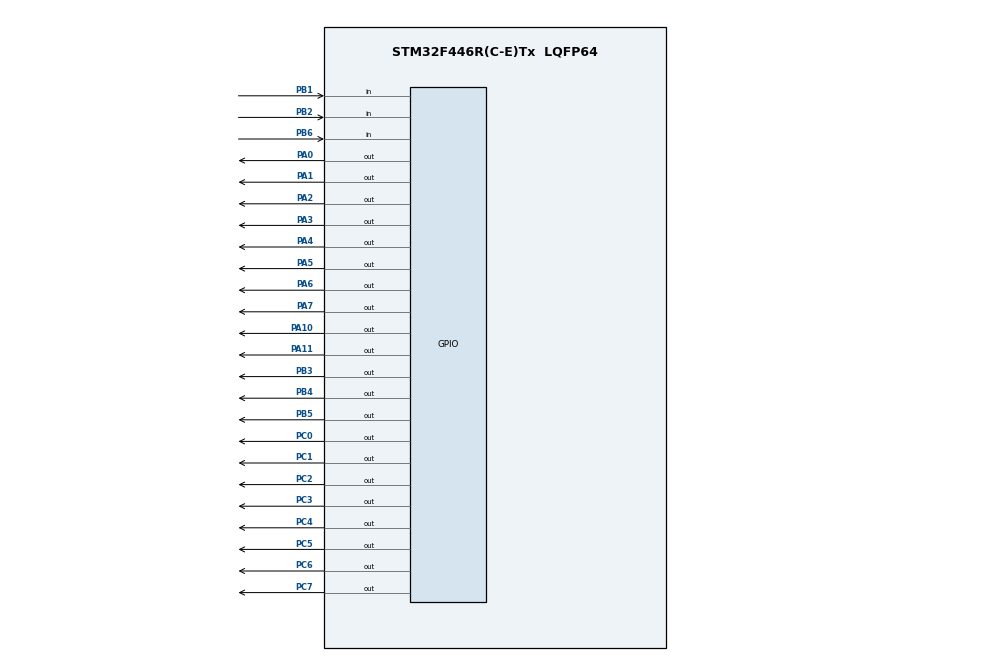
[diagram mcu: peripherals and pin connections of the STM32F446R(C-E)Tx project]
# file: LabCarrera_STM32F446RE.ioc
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Mcu.Family=STM32F4
Mcu.Name=STM32F446R(C-E)Tx
Mcu.Package=LQFP64
NVIC.PriorityGroup=NVIC_PRIORITYGROUP_4
PA0-WKUP.Signal=GPIO_Output
PA1.Signal=GPIO_Output
PA10.Signal=GPIO_Output
PA11.Signal=GPIO_Output
PA13.Mode=Serial_Wire
PA13.Signal=SYS_JTMS-SWDIO
PA14.Mode=Serial_Wire
PA14.Signal=SYS_JTCK-SWCLK
PA2.Signal=GPIO_Output
PA3.Signal=GPIO_Output
PA4.Signal=GPIO_Output
PA5.Signal=GPIO_Output
PA6.Signal=GPIO_Output
PA7.Signal=GPIO_Output
PB1.GPIO_PuPd=GPIO_PULLUP
PB1.Signal=GPIO_Input
PB2.GPIO_PuPd=GPIO_PULLUP
PB2.Signal=GPIO_Input
PB3.Signal=GPIO_Output
PB4.Signal=GPIO_Output
PB5.Signal=GPIO_Output
PB6.GPIO_PuPd=GPIO_PULLUP
PB6.Signal=GPIO_Input
PC0.Signal=GPIO_Output
PC1.Signal=GPIO_Output
PC2.Signal=GPIO_Output
PC3.Signal=GPIO_Output
PC4.Signal=GPIO_Output
PC5.Signal=GPIO_Output
PC6.Signal=GPIO_Output
PC7.Signal=GPIO_Output
ProjectManager.HeapSize=0x200
ProjectManager.StackSize=0x400
ProjectManager.TargetToolchain=STM32CubeIDE
RCC.CortexFreq_Value=16000000
RCC.USBFreq_Value=96000000
RCC.VCOOutputFreq_Value=192000000
board=custom

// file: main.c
/* USER CODE BEGIN Header */
/**
  ******************************************************************************
  * @file           : main.c
  * @brief          : Main program body
  ******************************************************************************
  * @attention
  *
  * Copyright (c) 2024 STMicroelectronics.
  * All rights reserved.
  *
  * This software is licensed under terms that can be found in the LICENSE file
  * in the root directory of this software component.
  * If no LICENSE file comes with this software, it is provided AS-IS.
  *
  ******************************************************************************
  */
/* USER CODE END Header */
#include "main.h"

/* USER CODE BEGIN PV */
uint8_t contadorA = 0; // Contador1
uint8_t contadorC = 0; // Contador2
uint8_t semaphoreActive = 0; // Flag para indicar si el semáforo está activo
uint8_t buttonB6Pressed = 0; // Flag para bloquear el botón B6
volatile uint8_t game_over = 0;
volatile uint8_t START = 1;

/* USER CODE END PV */

void SystemClock_Config(void);
static void MX_GPIO_Init(void);
/* USER CODE BEGIN PFP */
void Ganador(void);
/* USER CODE END PFP */

int main(void)
{

  /* MCU Configuration--------------------------------------------------------*/

  /* Reset of all peripherals, Initializes the Flash interface and the Systick. */
  HAL_Init();

  /* Configure the system clock */
  SystemClock_Config();

  /* Initialize all configured peripherals */
  MX_GPIO_Init();

  /* Infinite loop */
  while (1)
  {

    /* USER CODE BEGIN 3 */

	  if (semaphoreActive || game_over) return; // No hacer nada si el semáforo está activo
	    if(HAL_GPIO_ReadPin(GPIOB, GPIO_PIN_1)==0)
	    {
	    	HAL_Delay(5);
	    	while (HAL_GPIO_ReadPin(GPIOB, GPIO_PIN_1)==0);
	    	HAL_Delay(5);
	      // Incremento
	      contadorA = (contadorA << 1) | 1;
	      //if(contadorA > 128) contadorA = 1; // Reiniciar si se excede 128

	      HAL_GPIO_WritePin(GPIOA, 0xFF, GPIO_PIN_RESET); // Limpiar puerto A
	      HAL_GPIO_WritePin(GPIOA, contadorA, GPIO_PIN_SET); // Actualizar puerto A

	    }
	    else if(HAL_GPIO_ReadPin(GPIOB, GPIO_PIN_2)==0)
	    {
	    	HAL_Delay(5);
	    	while (HAL_GPIO_ReadPin(GPIOB, GPIO_PIN_2)==0);
	    	HAL_Delay(5);
	      // Incremento
	      contadorC = (contadorC << 1) | 1;
	      //if(contadorC > 128) contadorC = 1; // Reiniciar

	     HAL_GPIO_WritePin(GPIOC, 0xFF, GPIO_PIN_RESET);
	     HAL_GPIO_WritePin(GPIOC, contadorC, GPIO_PIN_SET);

	    }

	  	  if(!game_over) {
	  	          Ganador();
	  	  }

	  	  if(HAL_GPIO_ReadPin(GPIOB, GPIO_PIN_6) == 0 && !buttonB6Pressed)
	  	  {
	  		  buttonB6Pressed = 1;
	  		  semaphoreActive = 1;
	  		  HAL_GPIO_WritePin(GPIOA, GPIO_PIN_10, 0);

	  	  	  HAL_GPIO_WritePin(GPIOB, GPIO_PIN_3, 0); // Rojo
	  	  	  HAL_GPIO_WritePin(GPIOB, GPIO_PIN_5, 1); // Verde
	  	  	  HAL_Delay(1000);

	  	  	  HAL_GPIO_WritePin(GPIOB, GPIO_PIN_5, 0);
	  	  	  HAL_GPIO_WritePin(GPIOB, GPIO_PIN_4, 1); // Amarillo
	  	  	  HAL_Delay(1000);

	  	  	  HAL_GPIO_WritePin(GPIOB, GPIO_PIN_4, 0);
	  	  	  HAL_Delay(10);

	  	  	  HAL_GPIO_WritePin(GPIOB, GPIO_PIN_3, 1); // Rojo
	  	  	  semaphoreActive = 0; // Fin de la rutina del semáforo
	  	  	  START = 0;
	  	  }
	  	  	  if(!semaphoreActive)
	  	  	      {

	  	  	      }
  }
  /* USER CODE END 3 */
}

void SystemClock_Config(void)
{
  RCC_OscInitTypeDef RCC_OscInitStruct = {0};
  RCC_ClkInitTypeDef RCC_ClkInitStruct = {0};

  /** Configure the main internal regulator output voltage
  */
  __HAL_RCC_PWR_CLK_ENABLE();
  __HAL_PWR_VOLTAGESCALING_CONFIG(PWR_REGULATOR_VOLTAGE_SCALE3);

  /** Initializes the RCC Oscillators according to the specified parameters
  * in the RCC_OscInitTypeDef structure.
  */
  RCC_OscInitStruct.OscillatorType = RCC_OSCILLATORTYPE_HSI;
  RCC_OscInitStruct.HSIState = RCC_HSI_ON;
  RCC_OscInitStruct.HSICalibrationValue = RCC_HSICALIBRATION_DEFAULT;
  RCC_OscInitStruct.PLL.PLLState = RCC_PLL_NONE;
  if (HAL_RCC_OscConfig(&RCC_OscInitStruct) != HAL_OK)
  {
    Error_Handler();
  }

  /** Initializes the CPU, AHB and APB buses clocks
  */
  RCC_ClkInitStruct.ClockType = RCC_CLOCKTYPE_HCLK|RCC_CLOCKTYPE_SYSCLK
                              |RCC_CLOCKTYPE_PCLK1|RCC_CLOCKTYPE_PCLK2;
  RCC_ClkInitStruct.SYSCLKSource = RCC_SYSCLKSOURCE_HSI;
  RCC_ClkInitStruct.AHBCLKDivider = RCC_SYSCLK_DIV1;
  RCC_ClkInitStruct.APB1CLKDivider = RCC_HCLK_DIV1;
  RCC_ClkInitStruct.APB2CLKDivider = RCC_HCLK_DIV1;

  if (HAL_RCC_ClockConfig(&RCC_ClkInitStruct, FLASH_LATENCY_0) != HAL_OK)
  {
    Error_Handler();
  }
}

static void MX_GPIO_Init(void)
{
  GPIO_InitTypeDef GPIO_InitStruct = {0};

  /* GPIO Ports Clock Enable */
  __HAL_RCC_GPIOC_CLK_ENABLE();
  __HAL_RCC_GPIOA_CLK_ENABLE();
  __HAL_RCC_GPIOB_CLK_ENABLE();

  /*Configure GPIO pin Output Level */
  HAL_GPIO_WritePin(GPIOC, GPIO_PIN_0|GPIO_PIN_1|GPIO_PIN_2|GPIO_PIN_3
                          |GPIO_PIN_4|GPIO_PIN_5|GPIO_PIN_6|GPIO_PIN_7, GPIO_PIN_RESET);

  /*Configure GPIO pin Output Level */
  HAL_GPIO_WritePin(GPIOA, GPIO_PIN_0|GPIO_PIN_1|GPIO_PIN_2|GPIO_PIN_3
                          |GPIO_PIN_4|GPIO_PIN_5|GPIO_PIN_6|GPIO_PIN_7
                          |GPIO_PIN_10|GPIO_PIN_11, GPIO_PIN_RESET);

  /*Configure GPIO pin Output Level */
  HAL_GPIO_WritePin(GPIOB, GPIO_PIN_3|GPIO_PIN_4|GPIO_PIN_5, GPIO_PIN_RESET);

  /*Configure GPIO pins : PC0 PC1 PC2 PC3
                           PC4 PC5 PC6 PC7 */
  GPIO_InitStruct.Pin = GPIO_PIN_0|GPIO_PIN_1|GPIO_PIN_2|GPIO_PIN_3
                          |GPIO_PIN_4|GPIO_PIN_5|GPIO_PIN_6|GPIO_PIN_7;
  GPIO_InitStruct.Mode = GPIO_MODE_OUTPUT_PP;
  GPIO_InitStruct.Pull = GPIO_NOPULL;
  GPIO_InitStruct.Speed = GPIO_SPEED_FREQ_LOW;
  HAL_GPIO_Init(GPIOC, &GPIO_InitStruct);

  /*Configure GPIO pins : PA0 PA1 PA2 PA3
                           PA4 PA5 PA6 PA7
                           PA10 PA11 */
  GPIO_InitStruct.Pin = GPIO_PIN_0|GPIO_PIN_1|GPIO_PIN_2|GPIO_PIN_3
                          |GPIO_PIN_4|GPIO_PIN_5|GPIO_PIN_6|GPIO_PIN_7
                          |GPIO_PIN_10|GPIO_PIN_11;
  GPIO_InitStruct.Mode = GPIO_MODE_OUTPUT_PP;
  GPIO_InitStruct.Pull = GPIO_NOPULL;
  GPIO_InitStruct.Speed = GPIO_SPEED_FREQ_LOW;
  HAL_GPIO_Init(GPIOA, &GPIO_InitStruct);

  /*Configure GPIO pins : PB1 PB2 PB6 */
  GPIO_InitStruct.Pin = GPIO_PIN_1|GPIO_PIN_2|GPIO_PIN_6;
  GPIO_InitStruct.Mode = GPIO_MODE_INPUT;
  GPIO_InitStruct.Pull = GPIO_PULLUP;
  HAL_GPIO_Init(GPIOB, &GPIO_InitStruct);

  /*Configure GPIO pins : PB3 PB4 PB5 */
  GPIO_InitStruct.Pin = GPIO_PIN_3|GPIO_PIN_4|GPIO_PIN_5;
  GPIO_InitStruct.Mode = GPIO_MODE_OUTPUT_PP;
  GPIO_InitStruct.Pull = GPIO_NOPULL;
  GPIO_InitStruct.Speed = GPIO_SPEED_FREQ_LOW;
  HAL_GPIO_Init(GPIOB, &GPIO_InitStruct);

}

/* USER CODE BEGIN 4 */

void Ganador(void){
    if (contadorA > 128){
        HAL_GPIO_WritePin(GPIOA, GPIO_PIN_10, 1);  // Enciende el LED de ganador para A
        game_over = 1;  // Marcar juego terminado

    } else if(contadorC > 128){
        HAL_GPIO_WritePin(GPIOA, GPIO_PIN_11, 1);  // Enciende el LED de ganador para C
        game_over = 1;  // Marcar juego terminado

    }
}
/* USER CODE END 4 */

void Error_Handler(void)
{
  __disable_irq();
  while (1)
  {
  }
}
